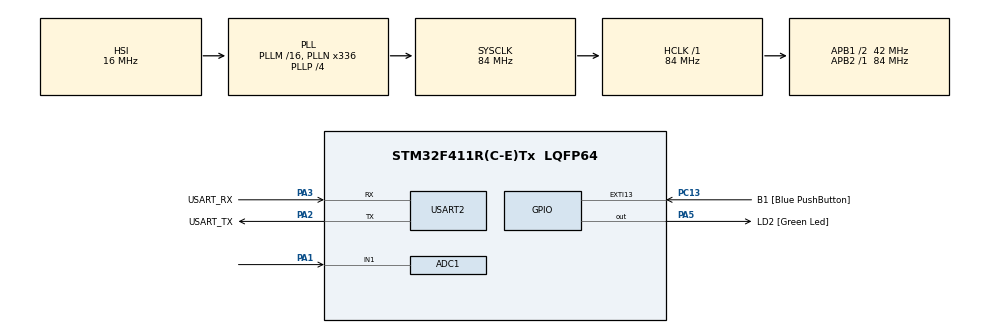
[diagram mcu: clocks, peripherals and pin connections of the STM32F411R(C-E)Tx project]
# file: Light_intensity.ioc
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ADC1.Channel-0\#ChannelRegularConversion=ADC_CHANNEL_1
ADC1.NbrOfConversionFlag=1
ADC1.Rank-0\#ChannelRegularConversion=1
ADC1.SamplingTime-0\#ChannelRegularConversion=ADC_SAMPLETIME_3CYCLES
ADC1.master=1
Mcu.Family=STM32F4
Mcu.Name=STM32F411R(C-E)Tx
Mcu.Package=LQFP64
NVIC.PriorityGroup=NVIC_PRIORITYGROUP_0
PA1.GPIO_PuPd=GPIO_NOPULL
PA1.Signal=ADCx_IN1
PA13.GPIO_Label=TMS
PA13.Mode=Serial_Wire
PA13.Signal=SYS_JTMS-SWDIO
PA14.GPIO_Label=TCK
PA14.Mode=Serial_Wire
PA14.Signal=SYS_JTCK-SWCLK
PA2.GPIO_Label=USART_TX
PA2.Mode=Asynchronous
PA2.Signal=USART2_TX
PA3.GPIO_Label=USART_RX
PA3.Mode=Asynchronous
PA3.Signal=USART2_RX
PA5.GPIO_Label=LD2 [Green Led]
PA5.Signal=GPIO_Output
PB3.GPIO_Label=SWO
PB3.Signal=SYS_JTDO-SWO
PC13-ANTI_TAMP.GPIO_Label=B1 [Blue PushButton]
PC13-ANTI_TAMP.GPIO_ModeDefaultEXTI=GPIO_MODE_IT_FALLING
PC13-ANTI_TAMP.Signal=GPXTI13
PC14-OSC32_IN.Mode=LSE-External-Oscillator
PC14-OSC32_IN.Signal=RCC_OSC32_IN
PC15-OSC32_OUT.Mode=LSE-External-Oscillator
PC15-OSC32_OUT.Signal=RCC_OSC32_OUT
PH0\ -\ OSC_IN.Mode=HSE-External-Clock-Source
PH0\ -\ OSC_IN.Signal=RCC_OSC_IN
PH1\ -\ OSC_OUT.Mode=HSE-External-Clock-Source
PH1\ -\ OSC_OUT.Signal=RCC_OSC_OUT
ProjectManager.HeapSize=0x200
ProjectManager.StackSize=0x400
ProjectManager.TargetToolchain=STM32CubeIDE
RCC.48MHZClocksFreq_Value=84000000
RCC.AHBFreq_Value=84000000
RCC.APB1CLKDivider=RCC_HCLK_DIV2
RCC.APB1Freq_Value=42000000
RCC.APB1TimFreq_Value=84000000
RCC.APB2Freq_Value=84000000
RCC.APB2TimFreq_Value=84000000
RCC.CortexFreq_Value=84000000
RCC.FLatency-AdvancedSettings=FLASH_LATENCY_2
RCC.HCLKFreq_Value=84000000
RCC.HSE_VALUE=8000000
RCC.HSI_VALUE=16000000
RCC.PLLN=336
RCC.PLLP=RCC_PLLP_DIV4
RCC.SYSCLKFreq_VALUE=84000000
RCC.SYSCLKSource=RCC_SYSCLKSOURCE_PLLCLK
RCC.VCOOutputFreq_Value=336000000
SH.ADCx_IN1.0=ADC1_IN1,IN1
USART2.VirtualMode=VM_ASYNC
board=NUCLEO-F411RE

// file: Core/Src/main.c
/* USER CODE BEGIN Header */
/**
  ******************************************************************************
  * @file           : main.c
  * @brief          : Main program body
  ******************************************************************************
  * @attention
  *
  * Copyright (c) 2025 STMicroelectronics.
  * All rights reserved.
  *
  * This software is licensed under terms that can be found in the LICENSE file
  * in the root directory of this software component.
  * If no LICENSE file comes with this software, it is provided AS-IS.
  *
  ******************************************************************************
  */
/* USER CODE END Header */
#include "main.h"

ADC_HandleTypeDef hadc1;

UART_HandleTypeDef huart2;

void SystemClock_Config(void);
static void MX_GPIO_Init(void);
static void MX_USART2_UART_Init(void);
static void MX_ADC1_Init(void);

int main(void)
{

  /* MCU Configuration--------------------------------------------------------*/

  /* Reset of all peripherals, Initializes the Flash interface and the Systick. */
  HAL_Init();

  /* Configure the system clock */
  SystemClock_Config();

  /* Initialize all configured peripherals */
  MX_GPIO_Init();
  MX_USART2_UART_Init();
  MX_ADC1_Init();
  /* USER CODE BEGIN 2 */
  char uart_buf[50];
  uint32_t LIGHT_THRESHOLD = 100;
  uint32_t SAMP_WIDTH = 50;
  /* USER CODE END 2 */

  /* Infinite loop */
  /* USER CODE BEGIN WHILE */
  while (1)
  {
	  uint32_t sample = 0;
	  uint32_t start_time = HAL_GetTick();
	  uint32_t signal_max = 0;

	  //sampling for SAMP_WIDTH
	  while ((HAL_GetTick() - start_time) < SAMP_WIDTH)
	  {
	      HAL_ADC_Start(&hadc1);
	      if (HAL_ADC_PollForConversion(&hadc1, 1) == HAL_OK)
	      {
	          sample = HAL_ADC_GetValue(&hadc1);
	          HAL_ADC_Stop(&hadc1);

	          if (sample > signal_max) signal_max = sample;
	      }
	  }

	  //light is off (> threshold)
	  if (signal_max > LIGHT_THRESHOLD)
	  {
	      sprintf(uart_buf, "intensity: %lu | OFF\r\n", signal_max);
	      HAL_UART_Transmit(&huart2, (uint8_t*)uart_buf, strlen(uart_buf), 100);
	  }
	  else
	  {
	      sprintf(uart_buf, "intensity: %lu | ON\r\n", signal_max);
	      HAL_UART_Transmit(&huart2, (uint8_t*)uart_buf, strlen(uart_buf), 100);
	  }

	  // Short rest before next measurement
	  HAL_Delay(10);
    /* USER CODE END WHILE */

  }
}

void SystemClock_Config(void)
{
  RCC_OscInitTypeDef RCC_OscInitStruct = {0};
  RCC_ClkInitTypeDef RCC_ClkInitStruct = {0};

  /** Configure the main internal regulator output voltage
  */
  __HAL_RCC_PWR_CLK_ENABLE();
  __HAL_PWR_VOLTAGESCALING_CONFIG(PWR_REGULATOR_VOLTAGE_SCALE1);

  /** Initializes the RCC Oscillators according to the specified parameters
  * in the RCC_OscInitTypeDef structure.
  */
  RCC_OscInitStruct.OscillatorType = RCC_OSCILLATORTYPE_HSI;
  RCC_OscInitStruct.HSIState = RCC_HSI_ON;
  RCC_OscInitStruct.HSICalibrationValue = RCC_HSICALIBRATION_DEFAULT;
  RCC_OscInitStruct.PLL.PLLState = RCC_PLL_ON;
  RCC_OscInitStruct.PLL.PLLSource = RCC_PLLSOURCE_HSI;
  RCC_OscInitStruct.PLL.PLLM = 16;
  RCC_OscInitStruct.PLL.PLLN = 336;
  RCC_OscInitStruct.PLL.PLLP = RCC_PLLP_DIV4;
  RCC_OscInitStruct.PLL.PLLQ = 4;
  if (HAL_RCC_OscConfig(&RCC_OscInitStruct) != HAL_OK)
  {
    Error_Handler();
  }

  /** Initializes the CPU, AHB and APB buses clocks
  */
  RCC_ClkInitStruct.ClockType = RCC_CLOCKTYPE_HCLK|RCC_CLOCKTYPE_SYSCLK
                              |RCC_CLOCKTYPE_PCLK1|RCC_CLOCKTYPE_PCLK2;
  RCC_ClkInitStruct.SYSCLKSource = RCC_SYSCLKSOURCE_PLLCLK;
  RCC_ClkInitStruct.AHBCLKDivider = RCC_SYSCLK_DIV1;
  RCC_ClkInitStruct.APB1CLKDivider = RCC_HCLK_DIV2;
  RCC_ClkInitStruct.APB2CLKDivider = RCC_HCLK_DIV1;

  if (HAL_RCC_ClockConfig(&RCC_ClkInitStruct, FLASH_LATENCY_2) != HAL_OK)
  {
    Error_Handler();
  }
}

static void MX_ADC1_Init(void)
{

  ADC_ChannelConfTypeDef sConfig = {0};

  /** Configure the global features of the ADC (Clock, Resolution, Data Alignment and number of conversion)
  */
  hadc1.Instance = ADC1;
  hadc1.Init.ClockPrescaler = ADC_CLOCK_SYNC_PCLK_DIV4;
  hadc1.Init.Resolution = ADC_RESOLUTION_12B;
  hadc1.Init.ScanConvMode = DISABLE;
  hadc1.Init.ContinuousConvMode = DISABLE;
  hadc1.Init.DiscontinuousConvMode = DISABLE;
  hadc1.Init.ExternalTrigConvEdge = ADC_EXTERNALTRIGCONVEDGE_NONE;
  hadc1.Init.ExternalTrigConv = ADC_SOFTWARE_START;
  hadc1.Init.DataAlign = ADC_DATAALIGN_RIGHT;
  hadc1.Init.NbrOfConversion = 1;
  hadc1.Init.DMAContinuousRequests = DISABLE;
  hadc1.Init.EOCSelection = ADC_EOC_SINGLE_CONV;
  if (HAL_ADC_Init(&hadc1) != HAL_OK)
  {
    Error_Handler();
  }

  /** Configure for the selected ADC regular channel its corresponding rank in the sequencer and its sample time.
  */
  sConfig.Channel = ADC_CHANNEL_1;
  sConfig.Rank = 1;
  sConfig.SamplingTime = ADC_SAMPLETIME_3CYCLES;
  if (HAL_ADC_ConfigChannel(&hadc1, &sConfig) != HAL_OK)
  {
    Error_Handler();
  }

}

static void MX_USART2_UART_Init(void)
{

  huart2.Instance = USART2;
  huart2.Init.BaudRate = 115200;
  huart2.Init.WordLength = UART_WORDLENGTH_8B;
  huart2.Init.StopBits = UART_STOPBITS_1;
  huart2.Init.Parity = UART_PARITY_NONE;
  huart2.Init.Mode = UART_MODE_TX_RX;
  huart2.Init.HwFlowCtl = UART_HWCONTROL_NONE;
  huart2.Init.OverSampling = UART_OVERSAMPLING_16;
  if (HAL_UART_Init(&huart2) != HAL_OK)
  {
    Error_Handler();
  }

}

static void MX_GPIO_Init(void)
{
  GPIO_InitTypeDef GPIO_InitStruct = {0};

  /* GPIO Ports Clock Enable */
  __HAL_RCC_GPIOC_CLK_ENABLE();
  __HAL_RCC_GPIOH_CLK_ENABLE();
  __HAL_RCC_GPIOA_CLK_ENABLE();
  __HAL_RCC_GPIOB_CLK_ENABLE();

  /*Configure GPIO pin Output Level */
  HAL_GPIO_WritePin(LD2_GPIO_Port, LD2_Pin, GPIO_PIN_RESET);

  /*Configure GPIO pin : B1_Pin */
  GPIO_InitStruct.Pin = B1_Pin;
  GPIO_InitStruct.Mode = GPIO_MODE_IT_FALLING;
  GPIO_InitStruct.Pull = GPIO_NOPULL;
  HAL_GPIO_Init(B1_GPIO_Port, &GPIO_InitStruct);

  /*Configure GPIO pin : LD2_Pin */
  GPIO_InitStruct.Pin = LD2_Pin;
  GPIO_InitStruct.Mode = GPIO_MODE_OUTPUT_PP;
  GPIO_InitStruct.Pull = GPIO_NOPULL;
  GPIO_InitStruct.Speed = GPIO_SPEED_FREQ_LOW;
  HAL_GPIO_Init(LD2_GPIO_Port, &GPIO_InitStruct);

}

void Error_Handler(void)
{
  __disable_irq();
  while (1)
  {
  }
}
